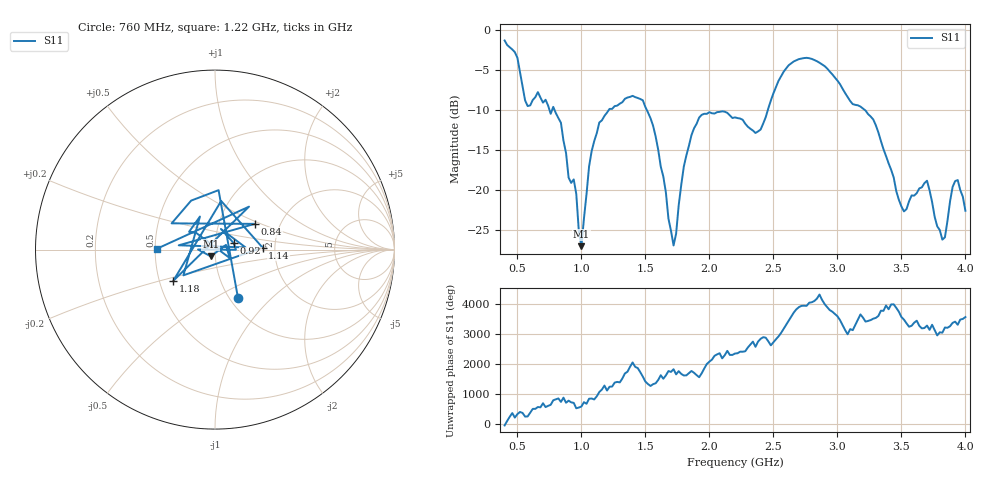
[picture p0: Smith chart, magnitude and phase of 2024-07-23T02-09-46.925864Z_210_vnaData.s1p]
!Created with skrf (http://scikit-rf.org).
# Hz S RI R 50.0
!freq ReS11 ImS11
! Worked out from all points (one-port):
!   181 points, 400 MHz to 4 GHz, reference 50 ohm
!   lowest |S11| = -27.0 dB at 1 GHz (marker M1), VSWR 1.09, Z = 47.6 - j3.61 ohm
!   |S11| at or under -10 dB: 790.8 MHz to 1.213 GHz (422.2 MHz wide, 42.1 % of centre); 1.512 GHz to 2.456 GHz (944.4 MHz wide, 47.6 % of centre); 3.216 GHz to end of sweep (the widest 3 of 4)
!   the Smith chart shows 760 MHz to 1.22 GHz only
!   S11 on the Smith chart (normalised r, x): 760 MHz: 1.09, -0.65; 840 MHz: 1.48, +0.46; 920 MHz: 1.23, +0.09; 1.14 GHz: 1.72, +0.04; 1.18 GHz: 0.59, -0.23; 1.22 GHz: 0.51, +0.01
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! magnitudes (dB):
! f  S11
! 400 MHz  -1.3
! 580 MHz  -9.5
! 760 MHz  -10.5
! 840 MHz  -11.6
! 860 MHz  -13.8
! 920 MHz  -19.1
! 960 MHz  -20.5
! 1 GHz  -27.0
! 1.06 GHz  -17.0
! 1.14 GHz  -11.5
! 1.18 GHz  -10.7
! 1.22 GHz  -9.8
! 1.3 GHz  -9.2
! 1.54 GHz  -11.0
! 1.72 GHz  -26.9
! 1.76 GHz  -21.9
! 1.92 GHz  -10.9
! 2.2 GHz  -10.9
! 2.4 GHz  -12.4
! 2.66 GHz  -3.9
! 3.1 GHz  -8.9
! 3.28 GHz  -11.2
! 3.5 GHz  -22.0
! 3.56 GHz  -21.4
! 3.7 GHz  -18.8
! 3.82 GHz  -26.2
! 3.92 GHz  -18.9
! 4 GHz  -22.6
